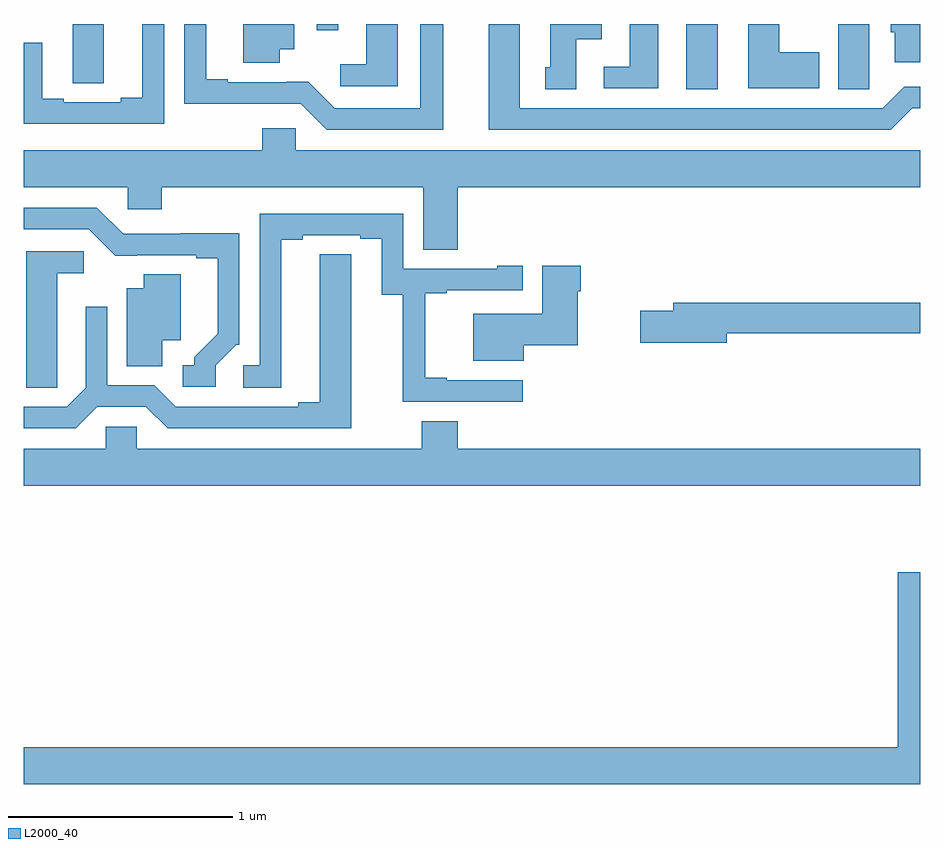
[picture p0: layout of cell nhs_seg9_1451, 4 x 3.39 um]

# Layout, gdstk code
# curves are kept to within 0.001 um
import gdstk
lib = gdstk.Library(unit=1e-6, precision=1e-09)
def R(c, l, rs):  # rectangles x0, y0, x1, y1
    for r in rs: c.add(gdstk.rectangle(r[:2], r[2:], *l))
def P(c, l, *ps):  # polygons
    for p in ps: c.add(gdstk.Polygon(p, *l))
L2000_40 = (2000, 40)

nhs_seg9_1451 = lib.new_cell('nhs_seg9_1451')
R(nhs_seg9_1451, L2000_40, [(195.956,1178.209,196.096,1178.5), (194.307,1178.472,194.403,1178.5)])
P(nhs_seg9_1451, L2000_40, [(196.549,1178.373),(196.372,1178.373),(196.372,1178.5),(196.232,1178.5),(196.232,1178.213),(196.549,1178.213)],
  [(194.668,1178.5),(194.528,1178.5),(194.528,1178.32),(194.412,1178.32),(194.412,1178.223),(194.668,1178.223)],
  [(195.832,1178.5),(195.704,1178.5),(195.704,1178.31),(195.588,1178.31),(195.588,1178.214),(195.832,1178.214)],
  [(193.357,1178.5),(193.217,1178.5),(193.217,1178.344),(193.218,1178.344),(193.218,1178.236),(193.357,1178.236)],
  [(194.143,1178.387),(194.206,1178.387),(194.206,1178.5),(193.979,1178.5),(193.979,1178.326),(194.143,1178.326)],
  [(193.626,1178.5),(193.529,1178.5),(193.529,1178.171),(193.433,1178.171),(193.433,1178.151),(193.177,1178.151),(193.177,1178.166),(193.081,1178.166),(193.081,1178.417),(193,1178.417),(193,1178.055),(193.626,1178.055)],
  [(195.466,1178.432),(195.58,1178.432),(195.58,1178.5),(195.35,1178.5),(195.35,1178.307),(195.326,1178.307),(195.326,1178.209),(195.466,1178.209)],
  [(197,1178.5),(196.868,1178.5),(196.868,1178.463),(196.886,1178.463),(196.886,1178.33),(197,1178.33)],
  [(196.773,1178.32),(196.774,1178.32),(196.774,1178.5),(196.634,1178.5),(196.634,1178.209),(196.773,1178.209)],
  [(194.872,1178.5),(194.768,1178.5),(194.768,1178.124),(194.388,1178.124),(194.27,1178.242),(193.909,1178.241),(193.909,1178.254),(193.813,1178.254),(193.813,1178.5),(193.716,1178.5),(193.716,1178.144),(194.235,1178.145),(194.352,1178.028),(194.872,1178.028)],
  [(196.965,1178.124),(197,1178.124),(197,1178.22),(196.929,1178.22),(196.833,1178.124),(195.214,1178.124),(195.214,1178.5),(195.074,1178.5),(195.074,1178.028),(196.869,1178.028)],
  [(194.936,1177.772),(197,1177.772),(197,1177.936),(194.214,1177.936),(194.214,1178.034),(194.063,1178.034),(194.063,1177.936),(193,1177.936),(193,1177.772),(193.464,1177.772),(193.464,1177.674),(193.616,1177.674),(193.616,1177.772),(194.783,1177.772),(194.783,1177.492),(194.936,1177.492)],
  [(193.857,1176.978),(193.947,1177.068),(193.962,1177.068),(193.962,1177.565),(193.699,1177.565),(193.699,1177.563),(193.443,1177.563),(193.326,1177.68),(193,1177.68),(193,1177.584),(193.29,1177.584),(193.408,1177.466),(193.769,1177.467),(193.769,1177.455),(193.865,1177.455),(193.865,1177.118),(193.76,1177.013),(193.76,1176.978),(193.71,1176.978),(193.71,1176.882),(193.857,1176.882)],
  [(195.226,1176.909),(194.887,1176.909),(194.887,1176.922),(194.792,1176.922),(194.792,1177.299),(194.887,1177.299),(194.887,1177.311),(195.226,1177.311),(195.226,1177.42),(195.113,1177.42),(195.113,1177.407),(194.694,1177.407),(194.694,1177.653),(194.052,1177.653),(194.052,1176.978),(193.98,1176.978),(193.98,1176.877),(194.149,1176.877),(194.149,1177.537),(194.245,1177.537),(194.245,1177.557),(194.501,1177.557),(194.501,1177.542),(194.597,1177.542),(194.597,1177.291),(194.692,1177.291),(194.692,1176.813),(195.226,1176.813)],
  [(193.149,1176.985),(193.15,1176.985),(193.15,1177.388),(193.267,1177.388),(193.267,1177.485),(193.01,1177.485),(193.01,1176.877),(193.149,1176.877)],
  [(193.327,1176.792),(193.545,1176.792),(193.641,1176.696),(194.461,1176.696),(194.46,1177.472),(194.321,1177.472),(194.321,1176.812),(194.225,1176.812),(194.225,1176.792),(193.677,1176.792),(193.581,1176.888),(193.371,1176.888),(193.371,1177.237),(193.275,1177.237),(193.275,1176.876),(193.191,1176.792),(193,1176.792),(193,1176.696),(193.231,1176.696)],
  [(195.232,1177.067),(195.472,1177.067),(195.472,1177.307),(195.485,1177.307),(195.485,1177.42),(195.314,1177.42),(195.314,1177.207),(195.005,1177.207),(195.005,1176.998),(195.232,1176.998)],
  [(193.618,1177.088),(193.699,1177.088),(193.699,1177.382),(193.535,1177.382),(193.535,1177.321),(193.46,1177.321),(193.46,1176.973),(193.618,1176.973)],
  [(196.138,1177.12),(197,1177.12),(197,1177.256),(195.899,1177.256),(195.899,1177.22),(195.75,1177.22),(195.75,1177.078),(196.138,1177.078)],
  [(197,1176.604),(194.936,1176.604),(194.936,1176.728),(194.776,1176.728),(194.776,1176.604),(193.503,1176.604),(193.503,1176.702),(193.365,1176.702),(193.365,1176.604),(193,1176.604),(193,1176.44),(197,1176.44)],
  [(197,1176.052),(196.901,1176.052),(196.901,1175.272),(193,1175.272),(193,1175.108),(197,1175.108)])

lib.write_gds('nhs_seg9_1451.gds')
